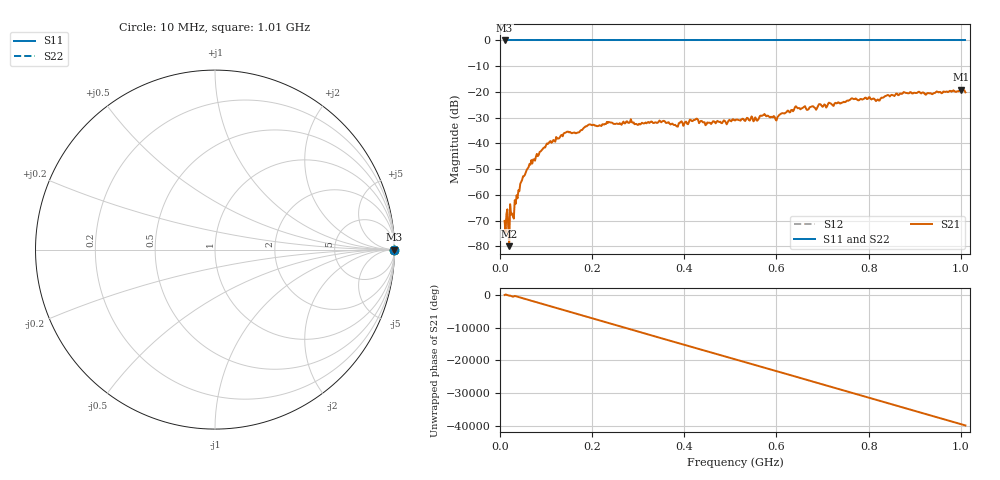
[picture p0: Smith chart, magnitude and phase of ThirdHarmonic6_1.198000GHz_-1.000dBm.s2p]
! 8/16/2025 12:23:00 PM
! C:\ANRITSUVNA\TEMP\TEMP.S2P
! CHANNEL.1
! TR.MEASUREMENT
! RAW.DATA
! RF.CORRECTION.OFF
! AVERAGING.OFF
! IF.BANDWIDTH: 5KHZ
! SWEEPTYPE:  FREQ.SWEEP(Linear)
! Reference Plane Port Info
! PORT:  PORT1  PORT2
! DISTANCE:  0  m  0  m
! TIME:  0  s  0  s
! PHASE.OFFSET:  0  deg.  0  deg.
! LOSS:  0  dB  0  dB
! REF.LOSS:  0  dB  0  dB
! REF.FREQ:  0  Hz  0  Hz
! Power Info
! POWER:  -20  dBm  -20  dBm
! EFF.POWER:  -20  dBm  -20  dBm
! SOURCE.ATTEN:  0  dB  0  dB
! TEST.ATTEN:  0  dB  0  dB
# GHZ S RI R 50.0
! FREQ.GHZ  S11RE  S11IM  S21RE  S21IM  S12RE  S12IM  S22RE  S22IM
!; PortSelection: Port_12
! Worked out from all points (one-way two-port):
!   501 points, 10 MHz to 1.01 GHz, reference 50 ohm
!   highest |S21| = -19.10 dB at 1 GHz (marker M1); lowest = -79.9 dB at 20 MHz (marker M2)
!   lowest |S11| = 0.0 dB at 10 MHz (marker M3)
!   |S11| at or under -10 dB: nowhere
!   |S22| runs from 0.0 to 0.0 dB; largest |S21 - S12| = 1.1
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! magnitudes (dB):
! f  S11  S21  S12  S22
! 10 MHz  0.0  -70.1  0.0  0.0
! 12 MHz  0.0  -74.7  0.0  0.0
! 16 MHz  0.0  -65.6  0.0  0.0
! 20 MHz  0.0  -79.9  0.0  0.0
! 30 MHz  0.0  -69.2  0.0  0.0
! 48 MHz  0.0  -54.2  0.0  0.0
! 68 MHz  0.0  -46.5  0.0  0.0
! 106 MHz  0.0  -39.8  0.0  0.0
! 178 MHz  0.0  -34.8  0.0  0.0
! 236 MHz  0.0  -31.7  0.0  0.0
! 344 MHz  0.0  -31.7  0.0  0.0
! 382 MHz  0.0  -33.1  0.0  0.0
! 424 MHz  0.0  -30.8  0.0  0.0
! 450 MHz  0.0  -31.8  0.0  0.0
! 510 MHz  0.0  -31.1  0.0  0.0
! 572 MHz  0.0  -29.0  0.0  0.0
! 600 MHz  0.0  -31.1  0.0  0.0
! 644 MHz  0.0  -26.0  0.0  0.0
! 678 MHz  0.0  -25.6  0.0  0.0
! 844 MHz  0.0  -21.4  0.0  0.0
! 1 GHz  0.0  -19.1  0.0  0.0
! 1.01 GHz  0.0  -20.2  0.0  0.0
